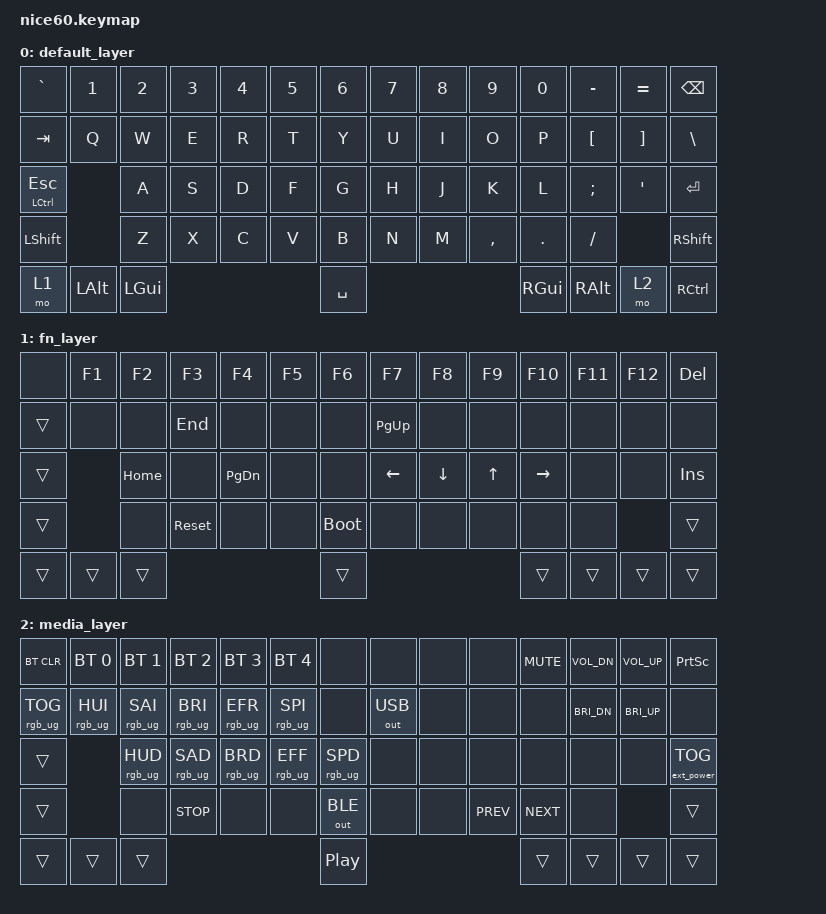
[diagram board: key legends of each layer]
/*
 * Copyright (c) 2021 Nick Winans
 *
 * SPDX-License-Identifier: MIT
 */

#include <behaviors.dtsi>
#include <dt-bindings/zmk/keys.h>
#include <dt-bindings/zmk/rgb.h>
#include <dt-bindings/zmk/bt.h>
#include <dt-bindings/zmk/outputs.h>
#include <dt-bindings/zmk/reset.h>
#include <dt-bindings/zmk/ext_power.h>

/ {
  keymap {
    compatible = "zmk,keymap";

    default_layer {
// ------------------------------------------------------------------------------------------
// |  `  |  1  |  2  |  3  |  4  |  5  |  6  |  7  |  8  |  9  |  0  |  -  |  =  |   BKSP   |
// | TAB  |  Q  |  W  |  E  |  R  |  T  |  Y  |  U  |  I  |  O  |  P  |  [  |  ]  |    \    |
// | CTL/ESC |  A  |  S  |  D  |  F  |  G  |  H  |  J  |  K  |  L  |  ;  |  '  |     ENTER  |
// | SHIFT   |  Z  |  X  |  C  |  V  |  B  |  N  |  M  |  ,  |  .  |  /  |      SHIFT       |
// | MO(1)  |  ALT  |  WIN  |            SPACE               | WIN | ALT |  MO(2) | CTRL    |
// ------------------------------------------------------------------------------------------
      bindings = <
&kp GRAVE &kp N1    &kp N2    &kp N3    &kp N4    &kp N5    &kp N6    &kp N7    &kp N8    &kp N9    &kp N0    &kp MINUS &kp EQUAL &kp BSPC
&kp TAB   &kp Q     &kp W     &kp E     &kp R     &kp T     &kp Y     &kp U     &kp I     &kp O     &kp P     &kp LBKT  &kp RBKT  &kp BSLH
&mt LCTRL ESC       &kp A     &kp S     &kp D     &kp F     &kp G     &kp H     &kp J     &kp K     &kp  L    &kp SEMI  &kp SQT   &kp RET
&kp LSHFT           &kp Z     &kp X     &kp C     &kp V     &kp B     &kp N     &kp M     &kp COMMA &kp DOT   &kp FSLH            &kp RSHFT
&mo 1     &kp LALT  &kp LGUI                                &kp SPACE                               &kp  RGUI &kp RALT  &mo 2     &kp  RCTRL
      >;
    };

    fn_layer {
// ------------------------------------------------------------------------------------------
// |     | F1  | F2  | F3  | F4  | F5  | F6  | F7  | F8  | F9  | F10 | F11 | F12 |   DEL    |
// | ___  |     |     | END |     |     |     | PGU |     |     |     |     |     |         |
// | _______ | HME |     | PGD |     |     | LFT | DWN | UP  | RGT |     |     |    INSERT  |
// | _____   |     | RST |     |     |BTLDR|     |     |     |     |     |      _____       |
// | _____  |  ___  |  ___  |            _____               | ___ | ___ |  _____ | ____    |
// ------------------------------------------------------------------------------------------
      bindings = <
&none     &kp F1    &kp F2    &kp F3     &kp F4    &kp F5    &kp F6      &kp F7    &kp F8    &kp F9    &kp F10   &kp F11   &kp F12   &kp DEL
&trans    &none     &none     &kp END    &none     &none     &none       &kp PG_UP &none     &none     &none     &none     &none     &none
&trans              &kp HOME  &none      &kp PG_DN &none     &none       &kp LEFT  &kp DOWN  &kp UP    &kp RIGHT &none     &none     &kp INS
&trans              &none     &sys_reset &none     &none     &bootloader &none     &none     &none     &none     &none               &trans
&trans    &trans    &trans                                   &trans                                    &trans    &trans    &trans    &trans
      >;
    };

    media_layer {
// ------------------------------------------------------------------------------------------
// |BTCLR| BT0 | BT1 | BT2 | BT3 | BT4 |     |     |     |     | MTE |VOLDN|VOLUP| PRNTSCRN |
// |RGBTOG|HUEUP|SATUP|BRIUP|EFFRV|SPDUP|     | USB |     |     |     |BRIDN|BRIUP|         |
// | _______ |HUEDN|SATDN|BRIDN|EFFFW|SPDDN|     |     |     |     |     |     |     POWER  |
// | _____   |     | STP |     |     | BLE |     |     | PRV | NXT |     |      _____       |
// | _____  |  ___  |  ___  |          PLAY/PAUSE            | ___ | ___ |  _____ | ____    |
// ------------------------------------------------------------------------------------------
      bindings = <
&bt BT_CLR      &bt BT_SEL 0    &bt BT_SEL 1    &bt BT_SEL 2    &bt BT_SEL 3    &bt BT_SEL 4    &none           &none        &none     &none      &kp C_MUTE &kp C_VOL_DN &kp C_VOL_UP &kp PSCRN
&rgb_ug RGB_TOG &rgb_ug RGB_HUI &rgb_ug RGB_SAI &rgb_ug RGB_BRI &rgb_ug RGB_EFR &rgb_ug RGB_SPI &none           &out OUT_USB &none     &none      &none      &kp C_BRI_DN &kp C_BRI_UP &none
&trans                          &rgb_ug RGB_HUD &rgb_ug RGB_SAD &rgb_ug RGB_BRD &rgb_ug RGB_EFF &rgb_ug RGB_SPD &none        &none     &none      &none      &none        &none        &ext_power EP_TOG
&trans                          &none           &kp C_STOP      &none           &none           &out OUT_BLE    &none        &none     &kp C_PREV &kp C_NEXT &none                     &trans
&trans          &trans          &trans                                                          &kp C_PP                                          &trans     &trans       &trans       &trans
      >;
    };
  };
};

// KEYMAP TEMPLATE
// ------------------------------------------------------------------------------------------
// |  _  |  _  |  _  |  _  |  _  |  _  |  _  |  _  |  _  |  _  |  _  |  _  |  _  |   ____   |
// | ___  |  _  |  _  |  _  |  _  |  _  |  _  |  _  |  _  |  _  |  _  |  _  |  _  |    _    |
// | _______ |  _  |  _  |  _  |  _  |  _  |  _  |  _  |  _  |  _  |  _  |  _  |     _____  |
// | _____   |  _  |  _  |  _  |  _  |  _  |  _  |  _  |  _  |  _  |  _  |      _____       |
// | _____  |  ___  |  ___  |            _____               | ___ | ___ |  _____ | ____    |
// ------------------------------------------------------------------------------------------
// &none     &none     &none     &none      &none     &none     &none       &none     &none     &none      &none      &none        &none        &none
// &trans    &none     &none     &none      &none     &none     &none       &none     &none     &none      &none      &none        &none        &none
// &trans              &none     &none      &none     &none     &none       &none     &none     &none      &none      &none        &none        &trans
// &trans              &none     &none      &none     &none     &none       &none     &none     &none      &none      &none                     &trans
// &trans    &trans    &trans                                   &trans                                     &trans     &trans       &trans       &trans
